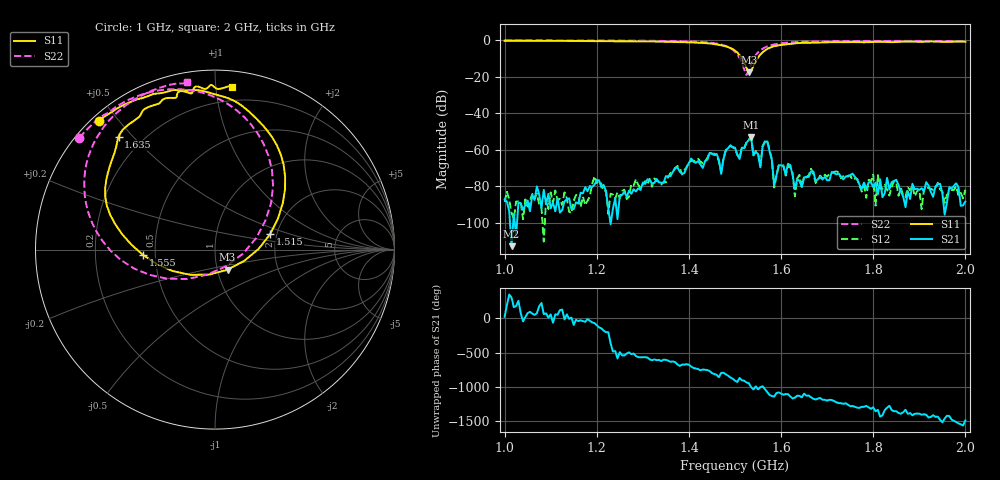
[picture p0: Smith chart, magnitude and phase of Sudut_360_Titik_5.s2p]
# Hz S RI R 50
! CMT, C1220, 16058040, 17.2.0/1
! Date: 14/08/2018 11:52:01
! Data: Format (Calibration Info)
! Freq  S11: Re/Im (F2)  S21: Re/Im (F2)  S12: Re/Im (F2)  S22: Re/Im (F2)
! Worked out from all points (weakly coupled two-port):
!   201 points, 1 GHz to 2 GHz, reference 50 ohm
!   highest |S21| = -53.35 dB at 1.535 GHz (marker M1); lowest = -112.9 dB at 1.015 GHz (marker M2)
!   lowest |S11| = -17.6 dB at 1.53 GHz (marker M3), VSWR 1.30, Z = 56 - j12.8 ohm
!   |S11| at or under -10 dB: 1.515 GHz to 1.549 GHz (33.66 MHz wide, 2.2 % of centre)
!   |S22| runs from -19.1 to -0.2 dB; largest |S21 - S12| = 0.00022
!   S11 on the Smith chart (normalised r, x): 1 GHz: 0.02, +0.44; 1.515 GHz: 1.84, +0.35; 1.555 GHz: 0.43, -0.03; 1.635 GHz: 0.11, +0.46; 2 GHz: 0.11, +1.11
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1e9  -0.6486 0.7151  3.93e-05 1.75e-05  1.63e-05 3.28e-05  -0.7553 0.6236
1.015e9  -0.6305 0.7288  1.38e-06 -1.79e-06  1.2e-05 -1.4e-05  -0.7448 0.6353
1.17e9  -0.4708 0.8225  4.92e-05 -3.98e-05  4.5e-05 -2.45e-05  -0.6188 0.7501
1.335e9  -0.2076 0.8877  -4.71e-05 0.000117  -2.65e-05 0.000131  -0.4017 0.8657
1.445e9  0.1597 0.7939  0.000507 -0.000637  0.000462 -0.000697  -0.0103 0.8534
1.46e9  0.233 0.7272  -0.000221 -0.000729  -0.000277 -0.000656  0.089 0.7994
1.47e9  0.2912 0.6631  4.33e-05 -0.000211  1.09e-05 -0.000242  0.1616 0.7398
1.48e9  0.3455 0.5796  -0.000154 -0.000952  -0.000138 -0.000946  0.2355 0.6505
1.5e9  0.3904 0.3373  -0.00111 0.000229  -0.00106 0.000189  0.3237 0.3555
1.515e9  0.3062 0.0848  -0.00112 0.00016  -0.00117 6.83e-05  0.2292 0.0638
1.53e9  0.0697 -0.112  -0.00117 0.00143  -0.00119 0.00146  -0.0436 -0.1396
1.535e9  -0.0309 -0.1389  0.000665 0.00205  0.000715 0.00206  -0.1542 -0.1637
1.555e9  -0.4022 -0.0288  0.000102 0.00031  8.06e-05 0.000346  -0.5236 -0.0585
1.56e9  -0.465 0.0268  0.000108 0.00123  6.18e-05 0.00126  -0.582 -0.00608
1.57e9  -0.5541 0.1386  0.00168 -1.12e-05  0.00179 -0.000109  -0.6628 0.1044
1.58e9  -0.6029 0.2452  0.000275 -0.000439  0.00026 -0.000482  -0.7065 0.2085
1.585e9  -0.6115 0.2974  4.37e-05 -9.55e-05  3.77e-05 -8.32e-05  -0.7183 0.2551
1.595e9  -0.6049 0.3936  0.000367 -2.6e-05  0.000366 -3.39e-05  -0.7277 0.3389
1.635e9  -0.5373 0.6288  9.5e-05 -0.000124  0.000115 -0.000114  -0.6891 0.5615
1.67e9  -0.4334 0.7305  -3.14e-05 -0.00025  -2.33e-05 -0.000216  -0.6284 0.6711
1.835e9  -0.1391 0.8713  -7.58e-05 2.99e-05  3.24e-05 4.4e-05  -0.3783 0.8737
2e9  0.0953 0.904  2.15e-05 -3.13e-05  -2.34e-05 -7.59e-05  -0.1534 0.9338
